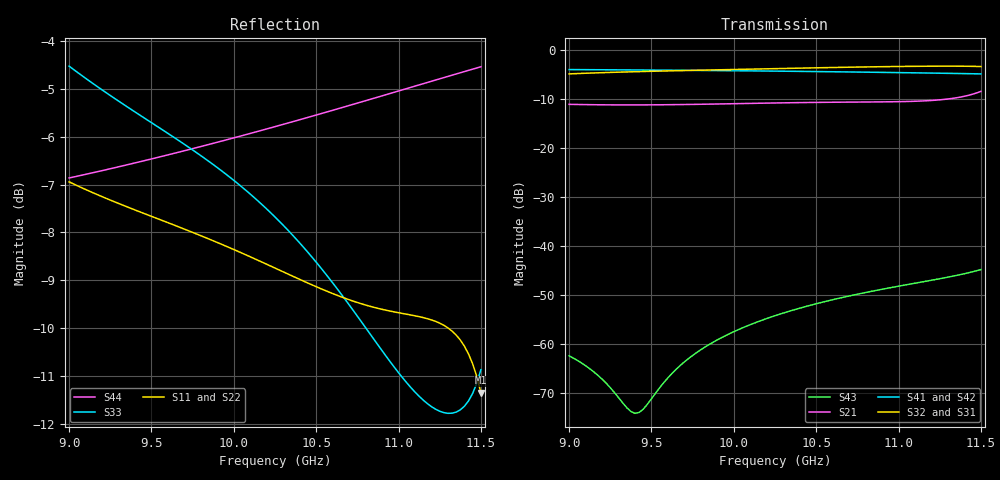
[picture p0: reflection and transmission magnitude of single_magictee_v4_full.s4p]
! Generated from PyAEDT SolutionData; AEDT ExportNetworkData workaround
# GHz S MA R 50
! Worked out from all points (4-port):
!   101 points, 9 GHz to 11.5 GHz, reference 50 ohm
!   strongest paths, dB at 9 GHz, 9.625 GHz, 10.25 GHz, 10.88 GHz, 11.5 GHz:
!     S32: -4.9, -4.3, -3.8, -3.4, -3.4
!     S31: -4.9, -4.3, -3.8, -3.4, -3.4
!     S41: -4.0, -4.1, -4.3, -4.6, -4.9
!     S42: -4.0, -4.2, -4.4, -4.6, -4.9
!     S21: -11.1, -11.2, -10.8, -10.6, -8.5
!     S43: -62.4, -66.0, -54.3, -49.0, -44.8
!   lowest |S11| = -11.4 dB at 11.5 GHz (marker M1), VSWR 1.74, Z = 37.6 + j21 ohm
!   |S11| at or under -10 dB: 11.3 GHz to end of sweep
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9  0.4496 17.9  0.2786 -55.3  0.568 -10.1  0.6306 43.5
   0.2786 -55.3  0.4486 17.4  0.5699 -10.3  0.6296 -136.7
   0.568 -10.1  0.5699 -10.3  0.5939 168.5  0.0007549 -138.5
   0.6306 43.5  0.6296 -136.7  0.0007549 -138.5  0.4538 -146.8
9.4  0.4202 -29.6  0.2748 -112.2  0.5978 -82.1  0.6249 -1.5
     0.2748 -112.2  0.4204 -30.1  0.5997 -82.3  0.623 178.3
     0.5978 -82.1  0.5997 -82.3  0.5319 76.3  0.0001954 -149.6
     0.6249 -1.5  0.623 178.3  0.0001954 -149.6  0.4705 171.3
9.7  0.4012 -63.9  0.2775 -153.2  0.6147 -134.1  0.6198 -34.3
     0.2775 -153.2  0.4024 -64.4  0.6165 -134.3  0.6173 145.6
     0.6147 -134.1  0.6165 -134.3  0.492 10.1  0.0006542 -135.6
     0.6198 -34.3  0.6173 145.6  0.0006542 -135.6  0.4845 140.5
10.125  0.3737 -110.6  0.2853 150.0  0.6368 154.0  0.6111 -79.6
        0.2853 150.0  0.376 -110.8  0.6381 153.8  0.6083 100.3
        0.6368 154.0  0.6381 153.8  0.4327 -80.9  0.00163 148.9
        0.6111 -79.6  0.6083 100.3  0.00163 148.9  0.5065 97.7
10.55  0.3464 -154.0  0.2921 94.3  0.6588 82.8  0.6005 -123.8
       0.2921 94.3  0.3495 -153.8  0.6597 82.7  0.5978 56.2
       0.6588 82.8  0.6597 82.7  0.3616 -172.1  0.002693 66.0
       0.6005 -123.8  0.5978 56.2  0.002693 66.0  0.531 55.6
11.05  0.3269 158.6  0.2979 31.4  0.6792 -2.8  0.5857 -174.9
       0.2979 31.4  0.3305 159.6  0.6796 -2.8  0.5833 5.2
       0.6792 -2.8  0.6796 -2.8  0.2772 73.5  0.004016 -34.2
       0.5857 -174.9  0.5833 5.2  0.004016 -34.2  0.5627 6.4
11.5  0.2707 107.2  0.3775 -22.4  0.6781 -90.1  0.5696 139.8
      0.3775 -22.4  0.2744 109.9  0.677 -89.8  0.5691 -40.1
      0.6781 -90.1  0.677 -89.8  0.2861 -23.4  0.005734 -130.9
      0.5696 139.8  0.5691 -40.1  0.005734 -130.9  0.593 -37.6
